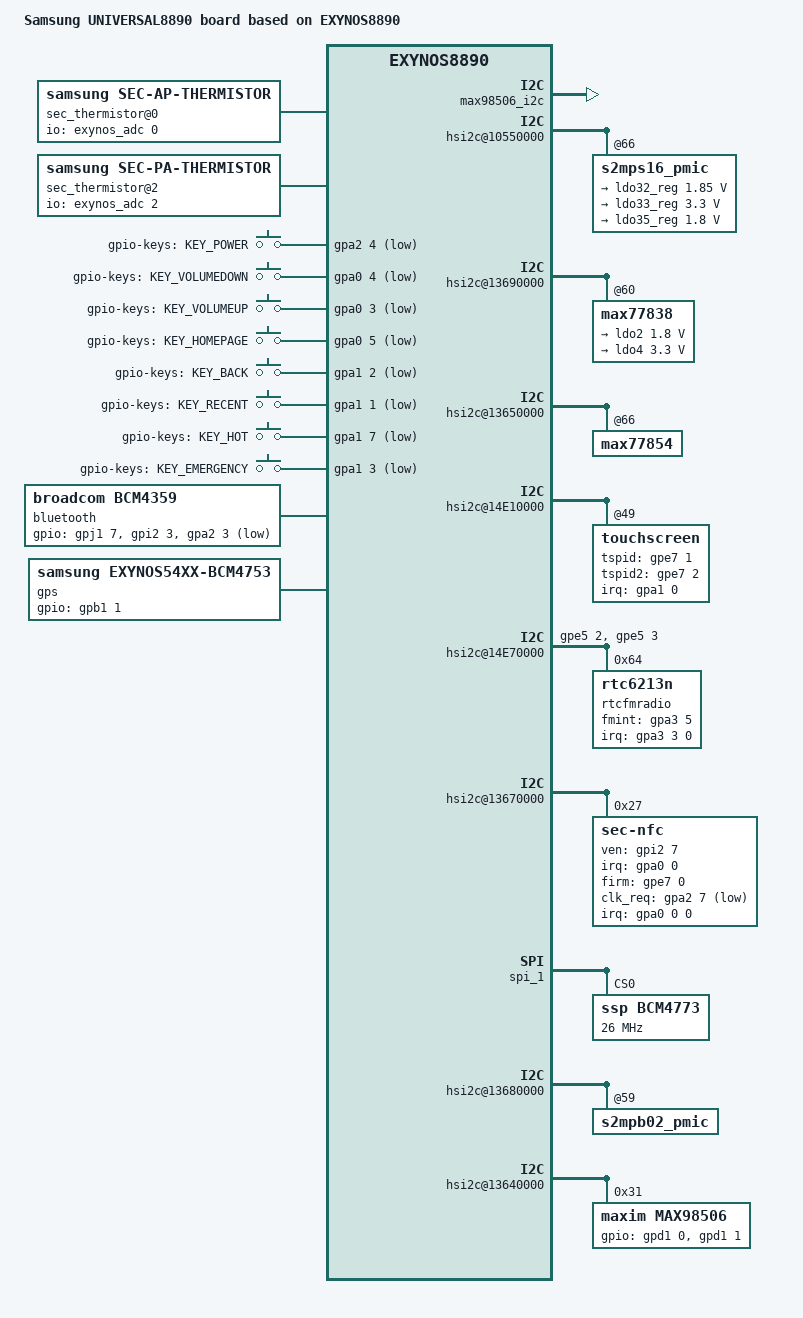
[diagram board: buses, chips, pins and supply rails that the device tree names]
/*
 * SAMSUNG UNIVERSAL8890 board device tree source
 *
 * Copyright (c) 2013 Samsung Electronics Co., Ltd.
 *		http://www.samsung.com
 *
 * This program is free software; you can redistribute it and/or modify
 * it under the terms of the GNU General Public License version 2 as
 * published by the Free Software Foundation.
 */

/dts-v1/;
#include "exynos8890-herolte_common.dtsi"
#include "exynos8890-haechilte_kor_gpio_02.dtsi"
#include "exynos8890-haechilte_battery_kor_00.dtsi"
#include "exynos8890-sound-cs47l91.dtsi"
#include "exynos8890-haechilte-sound.dtsi"
#include "exynos8890-luckylte_mst.dtsi"
#include "exynos8890-haechilte_display_00.dtsi"
#include "exynos8890-haechilte_motor.dtsi"
#include "exynos8890-haechilte_svcled.dtsi"

/ {
	model = "Samsung UNIVERSAL8890 board based on EXYNOS8890";
	model_info-chip = <8890>;
	model_info-platform = "android";
	model_info-subtype = "samsung";
	model_info-hw_rev = <3>;
	model_info-hw_rev_end = <3>;
	compatible = "samsung,exynos8890", "samsung,UNIVERSAL8890";

	audio_pdata {
		compatible = "samsung,audio-pdata";

		imp_table_CAN = <
			/* min      max gain */
			   0         13    0
			  14         42    8
			  43        100   11
			 101        200   14
			 201        450   15
			 451       1000   15
			1001 0x7fffffff   11
		>;

		seamless_voicewakeup;
		status = "okay";
	};

	pinctrl@10580000 {
		codec_irq: codec-irq {
			samsung,pins = "gpa2-6";
			samsung,pin-function = <0xf>;
			samsung,pin-pud = <0>;
		};
		max98506_ctrl_1: max98506-ctl-1 {
			samsung,pins ="gpa2-2";
			samsung,pin-function = <0>;
			samsung,pin-pud = <0>;
			samsung,pin-con-pdn =<2>;
			samsung,pin-pud-pdn = <0>;
		};
		max98506_ctrl_2: max98506-ctl-2 {
			samsung,pins ="gpa2-0";
			samsung,pin-function = <0>;
			samsung,pin-pud = <0>;
			samsung,pin-con-pdn =<2>;
			samsung,pin-pud-pdn = <0>;
		};
	};

	pinctrl@136D0000 {
		max98506_i2c: max98506-i2c {
			samsung,pins = "gpd1-0", "gpd1-1";
			samsung,pin-pud = <0>;
			status = "okay";
		};
	};

	hsi2c@10550000{
		status = "okay";

		s2mps16_pmic@66 {
			regulators {
				ldo32_reg: LDO32 {
					regulator-name = "tsp_io";
					regulator-min-microvolt = <1850000>;
					regulator-max-microvolt = <1850000>;
				};

				ldo33_reg: LDO33 {
					regulator-name = "tsp_avdd";
					regulator-min-microvolt = <3300000>;
					regulator-max-microvolt = <3300000>;
				};
			};
		};
	};

	hsi2c@13690000 {
		status = "okay";

		max77838@60 {
			regulators {
				ldo2: LDO2 {
					regulator-name = "HRM_1.8V_AP";
					regulator-min-microvolt = <1800000>;
					regulator-max-microvolt = <1800000>;
				};
				ldo4: LDO4 {
					regulator-name = "HRM_3.3V_AP";
					regulator-min-microvolt = <3300000>;
					regulator-max-microvolt = <3300000>;
				};
			};
		};
	};

	pinctrl@14CC0000 {
		codec_reset: codec-reset {
			samsung,pins ="gpe6-5";
			samsung,pin-function = <1>;
			samsung,pin-pud = <1>;
			samsung,pin-con-pdn =<3>;
			samsung,pin-pud-pdn = <1>;
			samsung,pin-val = <0>;
		};
	};

	hsi2c@13650000 {
		status = "okay";

		max77854@66 {
			status = "okay";
		};
	};

	hsi2c@14E10000 {
		touchscreen@48{
			status = "disabled";
		};

		touchscreen@49{
			status = "okay";
			stm,tspid_gpio = <&gpe7 1 0>;
			stm,tspid2_gpio = <&gpe7 2 0>;
			stm,irq_gpio = <&gpa1 0 0>;
			stm,irq_type = <8200>;
			stm,project_name = "PS-LTE", "G880";
			stm,firmware_name = "tsp_stm/fts7bd50_haechi.fw";
		};
	};


	pinctrl@10580000 {
		fmradio_irq: fmradio-irq {
			samsung,pins = "gpa3-5";
			samsung,pin-function = <0xf>;
			samsung,pin-pud = <1>;
			samsung,pin-drv = <0>;
		};
	};

	hsi2c@14E70000 {
		status = "okay";
		gpios = <&gpe5 2 0 &gpe5 3 0>;

		rtcfmradio@64 {
			compatible = "rtc6213n";
			reg = <0x64>;
			interrupts = <3 0 0>;
			interrupt-parent = <&gpa3>;
			pinctrl-names = "default";
			pinctrl-0 = <&fmradio_irq>;
			fmint-gpio = <&gpa3 5 0>; /* FM_INT */
		};
	};

	hsi2c@14E60000 {
		status = "diabled";

		sx9310-i2c@28 {
			status = "disabled";
		};
	};
	
	/delete-node/ i2c@20;
	
	hsi2c@13670000 {
		/delete-node/ sec-nfc@27;
		/delete-node/ adpd143@64;
		/delete-node/ max86900@51;

		sec-nfc@27 {
			compatible = "sec-nfc";
			reg = <0x27>;
			interrupts = <0 0 0>;
			interrupt-parent = <&gpa0>;

			sec-nfc,ven-gpio = <&gpi2 7 0>;
			sec-nfc,irq-gpio = <&gpa0 0 0>;
			sec-nfc,firm-gpio = <&gpe7 0 0>;
			sec-nfc,clk_req-gpio = <&gpa2 7 0xf>;
			sec-nfc,clk_use = <2>;
			sec-nfc,nfc_pvdd = "VDD_NFC_1P8";
			pinctrl-names = "default";
			pinctrl-0 = <&nfc_n5_en &nfc_n5_firm>;
			clocks = <&clock 1000>;
			clock-names = "oscclk_nfc";
			sec-nfc,nfc_ap_clk;
			sec-nfc,ldo_control;
		};
	};

	spi_3: spi@14d50000 {
		status = "disabled";
	};

	sec_thermistor@0 {
                compatible = "samsung,sec-ap-thermistor";
                status = "okay";

                adc_array = <300 309 317 326 334 343 354 365 375 386
                          397 412 426 441 456 471 485 500 515 529
                          544 562 580 598 616 634 657 679 702 724
                          747 773 799 824 850 876 905 934 963 992
                          1021 1056 1091 1125 1160 1195 1229 1262 1296 1329
                          1363 1401 1439 1476 1514 1552 1600 1648 1696 1744
                          1792 1836 1880 1924 1968 2012 2055 2099 2143 2187
                          2231 2281 2331 2381 2431 2482 2532 2582 2632 2682
                          2732 2773 2813 2854 2894 2935 2974 3013 3053 3092
                          3131 3165 3199 3234 3268 3302 3331 3359 3388 3416
                          3445 3469 3493 3517 3541 3565 3588 3612 3636 3660
                          3684>;
                temp_array = <900 890 880 870 860 850 840 830 820 810
                        800 790 780 770 760 750 740 730 720 710
                        700 690 680 670 660 650 640 630 620 610
                        600 590 580 570 560 550 540 530 520 510
                        500 490 480 470 460 450 440 430 420 410
                        400 390 380 370 360 350 340 330 320 310
                        300 290 280 270 260 250 240 230 220 210
                        200 190 180 170 160 150 140 130 120 110
                        100 90 80 70 60 50 40 30 20 10
                        0 (-10) (-20) (-30) (-40) (-50) (-60) (-70) (-80) (-90)
                        (-100)(-110)(-120)(-130)(-140)(-150)(-160)(-170)(-180)(-190)
                        (-200)>;

                io-channels = <&exynos_adc 0>;
                io-channel-names = "adc-ap-temp";
                io-channel-ranges;
	};

	sec_thermistor@2 {
                compatible = "samsung,sec-pa-thermistor";
                status = "okay";

                adc_array = <309 318 327 335 344 353 364 375 386 397
                        408 423 437 452 466 481 496 510 525 539
                        554 574 593 613 632 652 674 696 719 741
                        763 789 815 840 866 892 921 951 980 1010
                        1039 1074 1109 1143 1178 1213 1247 1281 1316 1350
                        1384 1420 1457 1493 1530 1566 1614 1662 1709 1757
                        1805 1849 1893 1937 1981 2026 2070 2114 2158 2202
                        2246 2296 2346 2397 2447 2497 2547 2597 2648 2698
                        2748 2789 2830 2872 2913 2954 2992 3029 3067 3104
                        3142 3177 3211 3246 3280 3315 3345 3375 3404 3434
                        3464 3487 3509 3532 3555 3578 3600 3623 3646 3668
                        3691>;
                temp_array = <900 890 880 870 860 850 840 830 820 810
                        800 790 780 770 760 750 740 730 720 710
                        700 690 680 670 660 650 640 630 620 610
                        600 590 580 570 560 550 540 530 520 510
                        500 490 480 470 460 450 440 430 420 410
                        400 390 380 370 360 350 340 330 320 310
                        300 290 280 270 260 250 240 230 220 210
                        200 190 180 170 160 150 140 130 120 110
                        100 90 80 70 60 50 40 30 20 10
                        0 (-10) (-20) (-30) (-40) (-50) (-60) (-70) (-80) (-90)
                        (-100)(-110)(-120)(-130)(-140)(-150)(-160)(-170)(-180)(-190)
                        (-200)>;

                io-channels = <&exynos_adc 2>;
                io-channel-names = "adc-pa-temp";
                io-channel-ranges;
        };

	pinctrl@10580000 {
		key_back: key-back {
			samsung,pins = "gpa1-2";
			samsung,pin-function = <0xf>;
			samsung,pin-pud = <0>;
			samsung,pin-drv = <0>;
		};
		key_recent: key-recent {
			samsung,pins = "gpa1-1";
			samsung,pin-function = <0xf>;
			samsung,pin-pud = <0>;
			samsung,pin-drv = <0>;
		};
		key_hot: key-hot {
			samsung,pins = "gpa1-7";
			samsung,pin-function = <0xf>;
			samsung,pin-pud = <0>;
			samsung,pin-drv = <0>;
		};
		key_emergency: key-emergency {
			samsung,pins = "gpa1-3";
			samsung,pin-function = <0xf>;
			samsung,pin-pud = <0>;
			samsung,pin-drv = <0>;

		};
	};

	gpio_keys {
		status = "okay";
		compatible = "gpio-keys";
		#address-cells = <1>;
		#size-cells = <0>;
		pinctrl-names = "default";
		pinctrl-0 = <&key_power &key_voldown &key_volup &key_home &key_back &key_recent &key_hot &key_emergency>;
		button@1 {
			label = "gpio-keys: KEY_POWER";
			interrupts = <4 0 0>;
			interrupt-parent = <&gpa2>;
			linux,code = <116>;
			gpios = <&gpa2 4 0xf>;
			gpio-key,wakeup = <1>;
		};
		button@2 {
			label = "gpio-keys: KEY_VOLUMEDOWN";
			interrupts = <4 0 0>;
			interrupt-parent = <&gpa0>;
			linux,code = <114>;
			gpios = <&gpa0 4 0xf>;
		};
		button@3 {
			label = "gpio-keys: KEY_VOLUMEUP";
			interrupts = <3 0 0>;
			interrupt-parent = <&gpa0>;
			linux,code = <115>;
			gpios = <&gpa0 3 0xf>;
		};
		button@4 {
			label = "gpio-keys: KEY_HOMEPAGE";
			interrupts = <5 0 0>;
			interrupt-parent = <&gpa0>;
			linux,code = <172>;
			gpios = <&gpa0 5 0xf>;
			gpio-key,wakeup = <1>;
		};
		button@5 {
			label = "gpio-keys: KEY_BACK";
			interrupts = <2 0 0>;
			interrupt-parent = <&gpa1>;
			linux,code = <158>;
			gpios = <&gpa1 2 0xf>;
		};
		button@6 {
			label = "gpio-keys: KEY_RECENT";
			interrupts = <1 0 0>;
			interrupt-parent = <&gpa1>;
			linux,code = <254>;
			gpios = <&gpa1 1 0xf>;
		};
		button@7 {
			label = "gpio-keys: KEY_HOT";
			interrupts = <7 0 0>;
			interrupt-parent = <&gpa1>;
			linux,code = <252>;
			gpios = <&gpa1 7 0xf>;
			gpio-key,wakeup = <1>;
		};
		button@8 {
			label = "gpio-keys: KEY_EMERGENCY";
			interrupts = <3 0 0>;
			interrupt-parent = <&gpa1>;
			linux,code = <672>;
			gpios = <&gpa1 3 0xf>;
			gpio-key,wakeup = <1>;
		};
	};

	spi_1: spi@14d30000 {
		#address-cells = <1>;
		#size-cells = <0>;

		pinctrl-names = "default";
		pinctrl-0 = <&spi1_mosi_sck_ssn &spi1_miso>;

		num-cs = <1>;
		status = "okay";

		BCM4773@0 {
			compatible = "ssp,BCM4773";
			reg = <0>;
			spi-max-frequency = <26000000>;
			spi-cpol;
			spi-cpha;
			pinctrl-names = "default";
			pinctrl-0 = <&ssp_host_req &ssp_mcu_req &ssp_mcu_resp &ssp_batch_wake_irq>;

			gpio-controller;
			#gpio-cells = <2>;
			ssp-host-req = <&gpa3 4 0x00>;
			ssp-mcu-req = <&gpe6 4 0x00>;
			ssp-mcu-resp = <&gpg0 2 0x00>;
			ssp-batch-wake-irq = <&gpa3 1 0x00>;
			ssp-acc-position = <1>;
			ssp-mag-position = <1>;
			ssp-sns-combination = <0>;
			ssp,prox-hi_thresh = <2000>;
			ssp,prox-low_thresh = <1400>;
			ssp-ap-rev = <1>;
			ssp-mag-array = /bits/ 8 <249 81 35 102 16 114 0 2 212 54 221 239 228 254 0 95 0 65 111 121 192 251 15 229 10 79 120>;
			ssp-glass-type = <0>;
			ssp-mag-type = <1>;
			ssp-vdd-mcu-1p8 = "vdd_mcu_1p8";

			controller-data {
				cs-gpio = <&gpe2 5 0>;
				samsung,spi-feedback-delay = <0>;
				};
			};
	};

	bluetooth {
	compatible = "broadcom,bcm4359";
	gpios = <&gpj1 7 0	/*BT_EN*/
		&gpi2 3 0	/*BT_WAKE*/
		&gpa2 3 0xF	/*BT_HOST_WAKE*/ >;
	pinctrl-names = "default";
	pinctrl-0=<&bt_hostwake &bt_btwake &bt_en>;
	status = "okay";
	};

	gps {
		compatible = "samsung,exynos54xx-bcm4753";

		pinctrl-names = "default";
		//pinctrl-0 = <&ssp_gps_pwr_en &ssp_host_wake>;
		pinctrl-0 = <&ssp_gps_pwr_en>;

		gpios = <&gpb1 1 0x0
			      //&gpa3 1 0x0
				>;
		status = "okay";
	};
	hsi2c@10550000{
		status = "okay";
		s2mps16_pmic@66 {
			regulators {
				ldo35_reg: LDO35 {
					regulator-name = "vdd_mcu_1p8";
					regulator-min-microvolt = <1800000>;
					regulator-max-microvolt = <1800000>;
				};
			};
		};
	};

	pinctrl@10580000 {
		tflash_en: tfalsh-en {
			samsung,pins = "gpa3-7";
			samsung,pin-pud = <0>;
		};
		dock_int_ap: dock-int-ap {
			samsung,pins = "gpa2-1";
			samsung,pin-function = <0xf>;
			samsung,pin-pud = <0>;
			samsung,pin-drv = <0>;
		};
	};

	pinctrl@15690000 {
		sd2_clk: sd2-clk {
			samsung,pins = "gpj0-0";
			samsung,pin-function = <2>;
			samsung,pin-pud = <0>;
			samsung,pin-drv = <2>;
		};

		sd2_bus1: sd2-bus-width1 {
			samsung,pins = "gpj0-3";
			samsung,pin-function = <2>;
			samsung,pin-pud = <0>;
			samsung,pin-drv = <2>;
		};

		sd2_bus4: sd2-bus-width4 {
			samsung,pins = "gpj0-4", "gpj0-5", "gpj0-6";
			samsung,pin-function = <2>;
			samsung,pin-pud = <0>;
			samsung,pin-drv = <2>;
		};
	};

	hsi2c@13650000 {
		status = "okay";

		max77854@66 {
			pinctrl-names = "default";
			pinctrl-0 = <&max77854_irq &pwm_tout1 &dock_int_ap>;
		};
	};

	muic {
		status = "okay";
		muic,dock_int_ap = <&gpa2 1 0>;
		muic,support-list-variant = "+Pogo dock:XXX";
	};

	pinctrl@14CA0000 {
                fimc_is_flash1_host: fimc-is-flash1-host {
                        samsung,pins = "gpf3-3";
                        samsung,pin-function = <1>;
                        samsung,pin-pud = <0>;
                        samsung,pin-drv = <0>;
                };

                fimc_is_flash1_in: fimc-is-flash1-in {
                        samsung,pins = "gpf3-3";
                        samsung,pin-function = <0>;
                        samsung,pin-pud = <1>;
                        samsung,pin-drv = <0>;
                };
	};

	hsi2c@13680000 {
		s2mpb02_pmic@59 {
			torch {
				leds2 {
					use_torch_current_value;
					torch_current_value = <0x9>;
					factory_torch_current_value = <0xc>;
				};
				leds3 {
					ledname = "torch-sec2";
					/* S2MPB02_TORCH_LED_2 */
					id = <2>;
					/* S2MPB02_TORCH_CURRENT */
					brightness = <0x9>;
					/* S2MPB02_TORCH_TIMEOUT */
					timeout = <0xF>;
					use_torch_current_value;
					torch_current_value = <0x9>;
					factory_torch_current_value = <0xc>;
				};
			};
		};
	};

	leds_ktd2692 {
		compatible = "ktd2692";
		flash_control = <&gpf3 3 0x1>;
		status = "okay";
		pinctrl-names ="default","host","idle";
		pinctrl-0 = <&fimc_is_flash1_in>;
		pinctrl-1 = <&fimc_is_flash1_host>;
		pinctrl-2 = <&fimc_is_flash1_in>;
		torch_current_value = <0x5>;
		factory_torch_current_value = <0x7>;
		torch_table = <0 1 2 2 3 3 4 4 4 4>;
	};

	hall {
		status = "disabled";
	};

	certify_hall {
		status = "disabled";
	};

	hsi2c@13640000 {
		status = "okay";
		max98506@31 {
			compatible = "maxim,max98506";
			reg = <0x31>;
			pinctrl-names = "default";
			pinctrl-0 = <&max98506_i2c &max98506_ctrl_1 &max98506_ctrl_2>;
			gpios = <&gpd1 0 0
				&gpd1 1 0
				>;
			i2c-gpio,delay-us = <2>;
			maxim,platform_type = <0>;
			maxim,spk-gain = <0x14>;
			maxim,sysclk = <12288000>;
			maxim,vmon_slot = <0>;
			maxim,interleave = <1>;
			maxim,platform_info = <0 0x4000 0x0F010203 0x0FF10203 0x00000000 50>;
			maxim,boost_step = <
						0x0F 0x0F 0x0F 0x0F
						0x0F 0x0F 0x0F 0x0F
						0x0F 0x0F 0x0F 0x0F
						0x0F 0x0F 0x02 0x00
						>;
			maxim,adc_threshold = <7>;
			maxim,registers-of-amp =
				<0x1F 0x00>,
				<0x21 0xC0>,
				<0x2F 0x00>;
			maxim,sub_reg = <0x34>;
		};
	};
};
